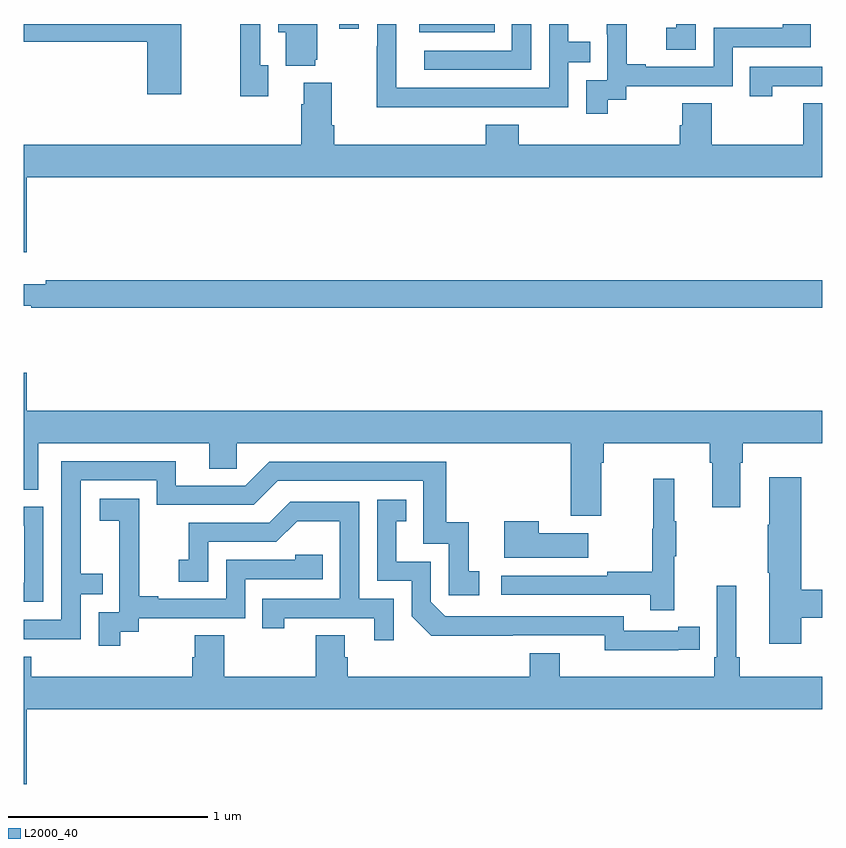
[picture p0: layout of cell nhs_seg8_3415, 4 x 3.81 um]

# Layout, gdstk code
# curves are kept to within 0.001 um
import gdstk
lib = gdstk.Library(unit=1e-6, precision=1e-09)
def R(c, l, rs):  # rectangles x0, y0, x1, y1
    for r in rs: c.add(gdstk.rectangle(r[:2], r[2:], *l))
def P(c, l, *ps):  # polygons
    for p in ps: c.add(gdstk.Polygon(p, *l))
L2000_40 = (2000, 40)

nhs_seg8_3415 = lib.new_cell('nhs_seg8_3415')
R(nhs_seg8_3415, L2000_40, [(322.982,1151.858,323.36,1151.9), (322.581,1151.877,322.677,1151.9)])
P(nhs_seg8_3415, L2000_40, [(321.79,1151.9),(321,1151.9),(321,1151.812),(321.62,1151.812),(321.62,1151.547),(321.79,1151.547)],
  [(323.541,1151.9),(323.445,1151.9),(323.445,1151.766),(323.007,1151.766),(323.007,1151.67),(323.541,1151.67)],
  [(323.231,1151.484),(323.727,1151.484),(323.727,1151.709),(323.837,1151.709),(323.837,1151.81),(323.727,1151.81),(323.727,1151.9),(323.631,1151.9),(323.631,1151.58),(322.866,1151.58),(322.866,1151.9),(322.77,1151.9),(322.77,1151.789),(322.768,1151.789),(322.768,1151.483),(323.231,1151.483)],
  [(322.225,1151.694),(322.185,1151.694),(322.185,1151.9),(322.084,1151.9),(322.084,1151.538),(322.225,1151.538)],
  [(324.366,1151.9),(324.268,1151.9),(324.268,1151.881),(324.219,1151.881),(324.219,1151.772),(324.366,1151.772)],
  [(323.926,1151.521),(324.018,1151.521),(324.018,1151.589),(324.552,1151.589),(324.552,1151.784),(324.941,1151.784),(324.941,1151.9),(324.801,1151.9),(324.801,1151.88),(324.456,1151.88),(324.456,1151.685),(324.115,1151.685),(324.115,1151.698),(324.02,1151.698),(324.02,1151.9),(323.921,1151.9),(323.921,1151.849),(323.922,1151.849),(323.922,1151.619),(323.817,1151.619),(323.817,1151.451),(323.926,1151.451)],
  [(322.46,1151.721),(322.471,1151.721),(322.471,1151.9),(322.274,1151.9),(322.274,1151.858),(322.313,1151.858),(322.313,1151.69),(322.46,1151.69)],
  [(324.748,1151.589),(325,1151.589),(325,1151.685),(324.637,1151.685),(324.637,1151.538),(324.748,1151.538)],
  [(321.016,1151.132),(325,1151.132),(325,1151.504),(324.904,1151.504),(324.904,1151.296),(324.447,1151.296),(324.447,1151.504),(324.299,1151.504),(324.299,1151.394),(324.287,1151.394),(324.287,1151.296),(323.48,1151.296),(323.48,1151.395),(323.315,1151.395),(323.315,1151.296),(322.556,1151.296),(322.556,1151.392),(322.543,1151.392),(322.543,1151.605),(322.403,1151.605),(322.403,1151.498),(322.391,1151.498),(322.391,1151.296),(321,1151.296),(321,1150.758),(321.016,1150.758)],
  [(325,1150.616),(321.112,1150.616),(321.112,1150.597),(321,1150.597),(321,1150.488),(321.038,1150.488),(321.038,1150.48),(325,1150.48)],
  [(323.893,1149.704),(323.906,1149.704),(323.906,1149.8),(324.437,1149.8),(324.437,1149.704),(324.449,1149.704),(324.449,1149.48),(324.589,1149.48),(324.589,1149.704),(324.602,1149.704),(324.602,1149.8),(325,1149.8),(325,1149.964),(321.016,1149.964),(321.016,1150.153),(321,1150.153),(321,1149.568),(321.073,1149.568),(321.073,1149.8),(321.929,1149.8),(321.929,1149.673),(322.068,1149.673),(322.068,1149.8),(323.741,1149.8),(323.741,1149.438),(323.893,1149.438)],
  [(321.285,1149.045),(321.395,1149.045),(321.395,1149.146),(321.285,1149.146),(321.285,1149.615),(321.666,1149.615),(321.666,1149.492),(322.152,1149.492),(322.272,1149.612),(323.001,1149.612),(323.001,1149.297),(323.13,1149.297),(323.13,1149.039),(323.281,1149.039),(323.281,1149.159),(323.228,1149.159),(323.228,1149.406),(323.117,1149.406),(323.117,1149.708),(322.23,1149.708),(322.11,1149.588),(321.763,1149.588),(321.763,1149.711),(321.189,1149.711),(321.189,1148.916),(321,1148.916),(321,1148.82),(321.285,1148.82)],
  [(324.893,1148.926),(325,1148.926),(325,1149.068),(324.893,1149.068),(324.893,1149.631),(324.734,1149.631),(324.734,1149.392),(324.727,1149.392),(324.727,1149.151),(324.734,1149.151),(324.734,1148.796),(324.893,1148.796)],
  [(324.257,1149.235),(324.268,1149.235),(324.268,1149.409),(324.257,1149.409),(324.257,1149.622),(324.154,1149.622),(324.154,1149.372),(324.147,1149.372),(324.147,1149.158),(323.923,1149.158),(323.923,1149.138),(323.391,1149.138),(323.391,1149.042),(324.139,1149.042),(324.139,1148.964),(324.257,1148.964)],
  [(321.484,1148.857),(321.576,1148.857),(321.576,1148.925),(322.11,1148.925),(322.11,1149.12),(322.499,1149.12),(322.499,1149.243),(322.359,1149.243),(322.359,1149.216),(322.014,1149.216),(322.014,1149.021),(321.673,1149.021),(321.673,1149.034),(321.578,1149.034),(321.578,1149.317),(321.579,1149.317),(321.579,1149.523),(321.381,1149.523),(321.381,1149.413),(321.479,1149.413),(321.479,1149.185),(321.48,1149.185),(321.48,1148.955),(321.375,1148.955),(321.375,1148.787),(321.484,1148.787)],
  [(324.278,1148.766),(324.386,1148.766),(324.386,1148.882),(324.278,1148.882),(324.278,1148.862),(324.006,1148.862),(324.006,1148.934),(323.112,1148.934),(323.04,1149.006),(323.04,1149.207),(322.867,1149.207),(322.867,1149.411),(322.916,1149.411),(322.916,1149.517),(322.77,1149.517),(322.77,1149.111),(322.944,1149.111),(322.944,1148.934),(323.042,1148.837),(323.91,1148.838),(323.91,1148.765)],
  [(322.854,1149.021),(322.68,1149.021),(322.68,1149.507),(322.334,1149.507),(322.229,1149.402),(321.826,1149.402),(321.826,1149.217),(321.777,1149.217),(321.777,1149.108),(321.924,1149.108),(321.924,1149.306),(322.266,1149.306),(322.37,1149.41),(322.584,1149.41),(322.584,1149.021),(322.195,1149.021),(322.195,1148.874),(322.306,1148.874),(322.306,1148.925),(322.757,1148.925),(322.757,1148.814),(322.854,1148.814)],
  [(321.099,1149.483),(321,1149.483),(321,1149.387),(321.003,1149.387),(321.003,1149.102),(321,1149.102),(321,1149.006),(321.099,1149.006)],
  [(323.827,1149.349),(323.579,1149.349),(323.579,1149.409),(323.408,1149.409),(323.408,1149.227),(323.827,1149.227)],
  [(321.016,1148.468),(325,1148.468),(325,1148.632),(324.587,1148.632),(324.587,1148.728),(324.568,1148.728),(324.568,1149.088),(324.471,1149.088),(324.471,1148.728),(324.458,1148.728),(324.458,1148.632),(323.686,1148.632),(323.686,1148.749),(323.534,1148.749),(323.534,1148.632),(322.622,1148.632),(322.622,1148.73),(322.609,1148.73),(322.609,1148.84),(322.462,1148.84),(322.462,1148.632),(322.005,1148.632),(322.005,1148.84),(321.857,1148.84),(321.857,1148.73),(321.845,1148.73),(321.845,1148.632),(321.038,1148.632),(321.038,1148.731),(321,1148.731),(321,1148.094),(321.016,1148.094)])

lib.write_gds('nhs_seg8_3415.gds')
